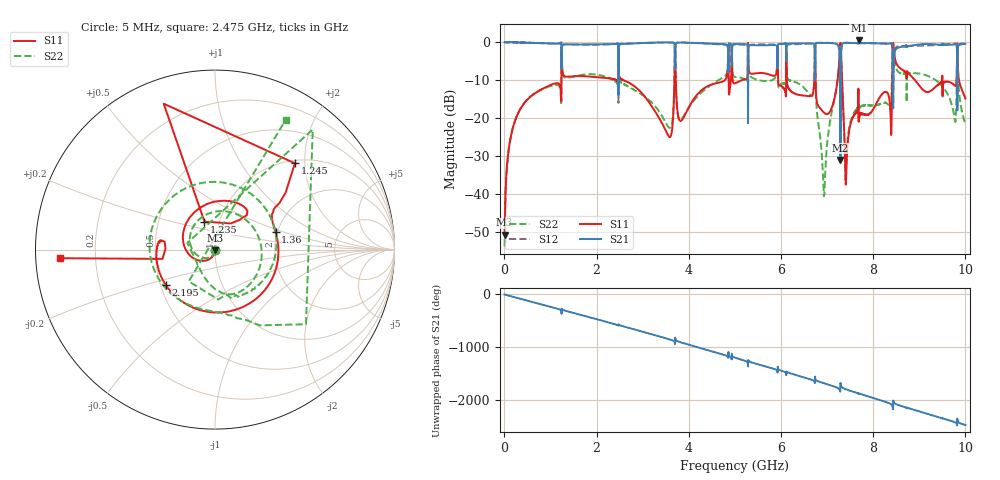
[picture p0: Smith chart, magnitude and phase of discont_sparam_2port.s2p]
#  Hz  S  RI  R  50
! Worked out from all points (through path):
!   2000 points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, 5 MHz to 10 GHz, reference 50 ohm
!   highest |S21| = 0.46 dB at 7.685 GHz (marker M1); lowest = -31.0 dB at 7.29 GHz (marker M2)
!   lowest |S11| = -50.7 dB at 5 MHz (marker M3), VSWR 1.01, Z = 50 - j0.286 ohm
!   |S11| at or under -10 dB: start of sweep to 1.237 GHz; 2.586 GHz to 3.689 GHz (1.103 GHz wide, 35.2 % of centre); 7.325 GHz to 8.411 GHz (1.087 GHz wide, 13.8 % of centre)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
!   |S22| runs from -53.7 to -0.2 dB; largest |S21 - S12| = 0.067
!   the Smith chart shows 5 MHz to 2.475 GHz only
!   S11 on the Smith chart (normalised r, x): 5 MHz: 1.00, -0.01; 1.235 GHz: 0.85, +0.27; 1.245 GHz: 1.06, +1.78; 1.36 GHz: 1.96, +0.43; 2.195 GHz: 0.53, -0.23; 2.475 GHz: 0.07, -0.03
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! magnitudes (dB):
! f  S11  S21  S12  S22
! 5 MHz  -50.7  0.0  0.0  -53.7
! 95 MHz  -28.1  0.0  0.0  -28.2
! 275 MHz  -19.4  -0.1  -0.1  -19.3
! 1.235 GHz  -15.6  -0.2  0.0  -16.0
! 1.245 GHz  -3.7  -2.6  -2.6  -3.7
! 1.36 GHz  -9.1  -0.6  -0.5  -9.4
! 1.675 GHz  -8.9  -0.6  -0.6  -8.6
! 2.195 GHz  -9.4  -0.5  -0.6  -9.1
! 2.475 GHz  -1.2  -14.0  -16.0  -1.7
! 3.34 GHz  -19.6  -0.1  -0.1  -18.0
! 5.005 GHz  -10.8  -0.5  -0.6  -9.2
! 6.67 GHz  -14.0  -0.3  -0.3  -14.2
! 6.755 GHz  -11.9  -0.4  -0.3  -12.0
! 6.94 GHz  -18.6  -0.2  -0.1  -40.2
! 7.29 GHz  -0.2  -31.0  -31.0  -0.2
! 7.415 GHz  -34.8  -0.2  -0.2  -32.1
! 7.685 GHz  -21.0  0.5  0.2  -19.9
! 8.335 GHz  -14.1  -0.4  -0.3  -16.8
! 8.465 GHz  -3.7  -2.8  -2.1  -4.7
! 9.75 GHz  -11.2  -0.6  -0.4  -18.9
! 9.855 GHz  -9.5  -0.8  -0.6  -11.9
! 10 GHz  -14.9  -0.5  -0.3  -21.3
